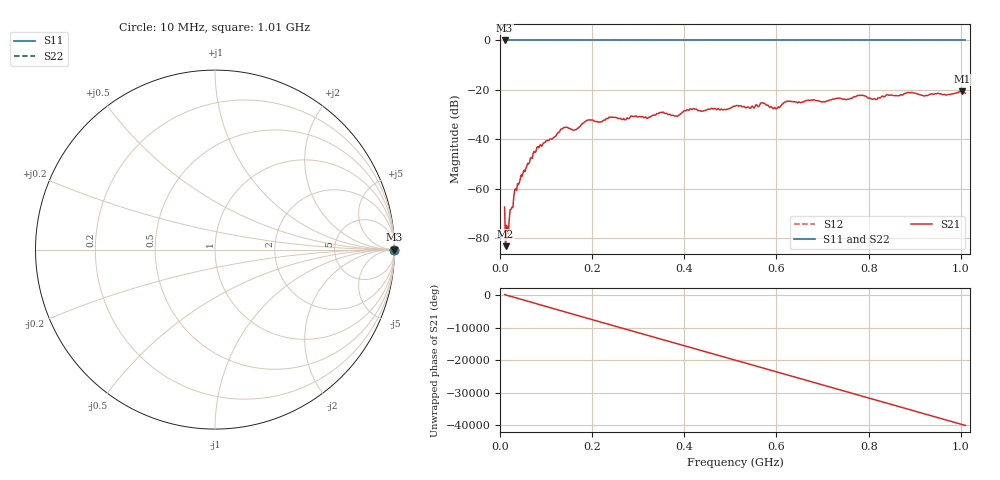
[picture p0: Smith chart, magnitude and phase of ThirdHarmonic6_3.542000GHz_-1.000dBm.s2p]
! 8/17/2025 11:40:13 AM
! C:\ANRITSUVNA\TEMP\TEMP.S2P
! CHANNEL.1
! TR.MEASUREMENT
! RAW.DATA
! RF.CORRECTION.OFF
! AVERAGING.OFF
! IF.BANDWIDTH: 5KHZ
! SWEEPTYPE:  FREQ.SWEEP(Linear)
! Reference Plane Port Info
! PORT:  PORT1  PORT2
! DISTANCE:  0  m  0  m
! TIME:  0  s  0  s
! PHASE.OFFSET:  0  deg.  0  deg.
! LOSS:  0  dB  0  dB
! REF.LOSS:  0  dB  0  dB
! REF.FREQ:  0  Hz  0  Hz
! Power Info
! POWER:  -20  dBm  -20  dBm
! EFF.POWER:  -20  dBm  -20  dBm
! SOURCE.ATTEN:  0  dB  0  dB
! TEST.ATTEN:  0  dB  0  dB
# GHZ S RI R 50.0
! FREQ.GHZ  S11RE  S11IM  S21RE  S21IM  S12RE  S12IM  S22RE  S22IM
!; PortSelection: Port_12
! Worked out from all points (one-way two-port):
!   501 points, 10 MHz to 1.01 GHz, reference 50 ohm
!   highest |S21| = -20.57 dB at 1.002 GHz (marker M1); lowest = -83.3 dB at 12 MHz (marker M2)
!   lowest |S11| = 0.0 dB at 10 MHz (marker M3)
!   |S11| at or under -10 dB: nowhere
!   |S22| runs from 0.0 to 0.0 dB; largest |S21 - S12| = 1.1
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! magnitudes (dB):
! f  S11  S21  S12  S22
! 10 MHz  0.0  -67.4  0.0  0.0
! 12 MHz  0.0  -83.3  0.0  0.0
! 16 MHz  0.0  -75.6  0.0  0.0
! 34 MHz  0.0  -60.0  0.0  0.0
! 78 MHz  0.0  -44.9  0.0  0.0
! 136 MHz  0.0  -35.7  0.0  0.0
! 162 MHz  0.0  -36.2  0.0  0.0
! 178 MHz  0.0  -33.8  0.0  0.0
! 192 MHz  0.0  -32.1  0.0  0.0
! 322 MHz  0.0  -31.2  0.0  0.0
! 344 MHz  0.0  -29.6  0.0  0.0
! 382 MHz  0.0  -30.6  0.0  0.0
! 416 MHz  0.0  -27.9  0.0  0.0
! 510 MHz  0.0  -26.6  0.0  0.0
! 570 MHz  0.0  -25.3  0.0  0.0
! 596 MHz  0.0  -27.1  0.0  0.0
! 624 MHz  0.0  -24.5  0.0  0.0
! 678 MHz  0.0  -24.2  0.0  0.0
! 814 MHz  0.0  -23.7  0.0  0.0
! 844 MHz  0.0  -22.2  0.0  0.0
! 1.002 GHz  0.0  -20.6  0.0  0.0
! 1.01 GHz  0.0  -21.4  0.0  0.0
